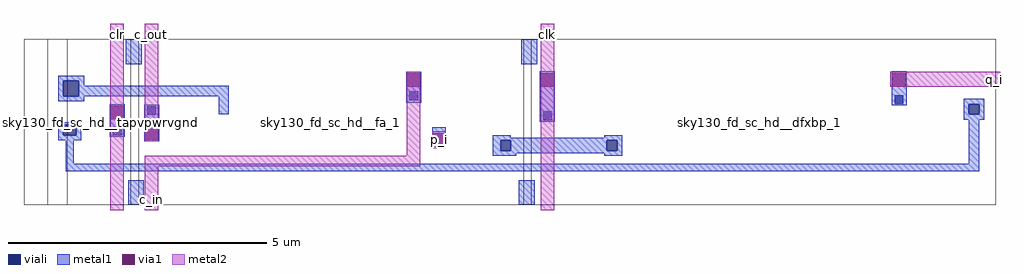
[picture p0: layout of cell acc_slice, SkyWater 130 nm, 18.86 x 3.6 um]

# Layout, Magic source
magic
tech sky130A
magscale 1 2
<< viali >>
rect 211 229 245 263
rect 344 308 378 342
rect 1357 365 1391 399
rect 1874 288 1908 322
rect 3233 351 3267 385
rect 20 380 80 440
rect 3520 310 3560 350
rect 20 230 70 270
rect 1710 170 1750 210
rect 2120 170 2160 210
<< metal1 >>
rect 199 223 257 350
rect 332 206 390 348
rect 1345 356 1403 475
rect 1862 282 1920 476
rect 1446 180 1498 260
rect 3221 345 3279 476
rect 262 504 323 600
rect 1790 504 1851 600
rect 0 440 100 460
rect 0 380 20 440
rect 80 420 100 440
rect 80 380 660 420
rect 0 360 100 380
rect 620 310 660 380
rect 3500 350 3580 370
rect 3500 310 3520 350
rect 3560 310 3580 350
rect 3500 290 3580 310
rect 0 270 90 280
rect 0 230 20 270
rect 70 230 90 270
rect 0 210 90 230
rect 1680 220 1750 230
rect 2110 220 2180 230
rect 1680 210 2180 220
rect 30 120 60 210
rect 1680 170 1710 210
rect 1750 170 2120 210
rect 2160 170 2180 210
rect 1680 160 2180 170
rect 1680 150 1770 160
rect 2110 150 2180 160
rect 3520 120 3560 290
rect 30 90 3560 120
rect 270 -40 331 56
rect 1780 -40 1841 56
<< via1 >>
rect 202 292 254 344
rect 335 212 387 264
rect 1348 417 1400 469
rect 1865 417 1917 469
rect 1446 186 1498 238
rect 3224 417 3276 469
<< metal2 >>
rect 3216 417 3224 475
rect 202 -60 254 660
rect 1865 -60 1917 660
rect 335 206 387 660
rect 1348 110 1400 475
rect 335 110 1400 150
rect 335 -60 387 150
rect 1446 180 1498 244
rect 3224 417 3640 475
use sky130_fd_sc_hd__dfxbp_1  sky130_fd_sc_hd__dfxbp_1_0 $PDKPATH/libs.ref/sky130_fd_sc_hd/mag
transform 1 0 1838 0 1 8
box -38 -48 1786 592
use sky130_fd_sc_hd__fa_1  sky130_fd_sc_hd__fa_1_0 $PDKPATH/libs.ref/sky130_fd_sc_hd/mag
transform 1 0 318 0 1 8
box -38 -48 1510 592
use sky130_fd_sc_hd__tapvpwrvgnd_1  sky130_fd_sc_hd__tapvpwrvgnd_1_0 $PDKPATH/libs.ref/sky130_fd_sc_hd/mag
transform 1 0 -94 0 1 8
box -38 -48 130 592
use sky130_fd_sc_hd__nor2_1  sky130_fd_sc_hd__nor2_1_0 $PDKPATH/libs.ref/sky130_fd_sc_hd/mag
transform 1 0 -2 0 1 8
box -38 -48 314 592
<< labels >>
flabel metal2 202 600 254 640 0 FreeSans 100 0 0 0 clr
port 1 nsew signal input
flabel metal2 1865 600 1917 640 0 FreeSans 100 0 0 0 clk
port 2 nsew signal input
flabel metal2 335 -40 387 0 0 FreeSans 100 0 0 0 c_in
port 3 nsew signal input
flabel metal2 335 600 387 640 0 FreeSans 100 0 0 0 c_out
port 4 nsew signal output
flabel metal2 1446 190 1498 234 0 FreeSans 100 0 0 0 p_i
port 5 nsew signal input
flabel metal2 3600 417 3640 475 0 FreeSans 100 0 0 0 q_i
port 6 nsew signal output
<< end >>
